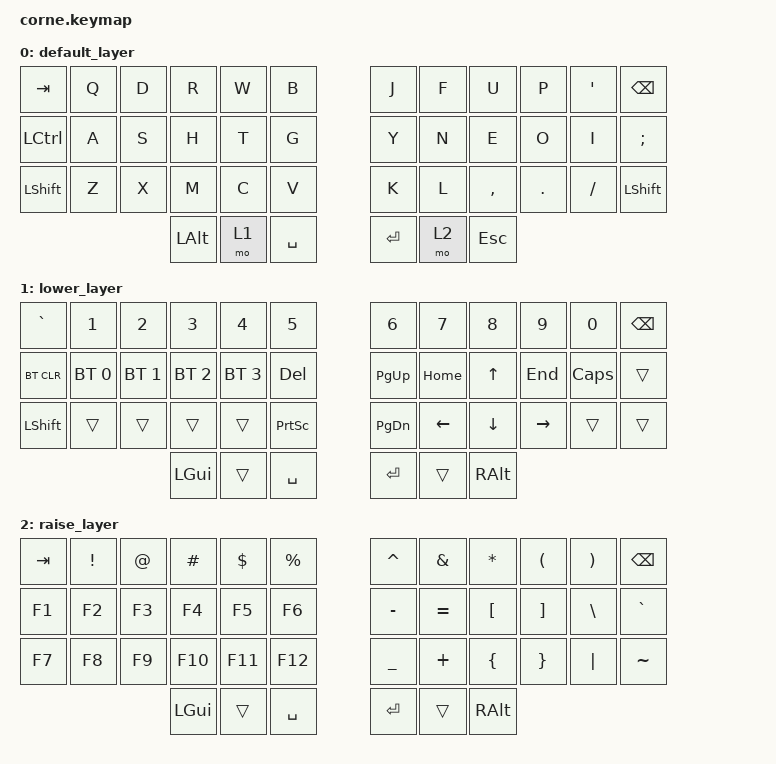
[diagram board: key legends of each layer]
/*
 * Copyright (c) 2020 The ZMK Contributors
 *
 * SPDX-License-Identifier: MIT
 */

#include <behaviors.dtsi>
#include <dt-bindings/zmk/keys.h>
#include <dt-bindings/zmk/bt.h>

/ {
        keymap {
                compatible = "zmk,keymap";

                default_layer {
// -----------------------------------------------------------------------------------------
// |  TAB |  Q  |  W  |  E  |  R  |  T  |   |  Y  |  U   |  I  |  O  |  P  | BSPC |
// | CTRL |  A  |  S  |  D  |  F  |  G  |   |  H  |  J   |  K  |  L  |  ;  |  '   |
// | SHFT |  Z  |  X  |  C  |  V  |  B  |   |  N  |  M   |  ,  |  .  |  /  | ESC  |
//                    | GUI | LWR | SPC |   | ENT | RSE  | ALT |
                        bindings = <
   &kp TAB   &kp Q &kp D &kp R &kp W &kp B   &kp J &kp F  &kp U     &kp P   &kp SQT  &kp BSPC
   &kp LCTRL &kp A &kp S &kp H &kp T &kp G   &kp Y &kp N  &kp E     &kp O   &kp I    &kp SEMI
   &kp LSHFT &kp Z &kp X &kp M &kp C &kp V   &kp K &kp L  &kp COMMA &kp DOT &kp FSLH &kp LSHFT
                  &kp LALT &mo 1 &kp SPACE   &kp RET &mo 2 &kp ESC
                        >;
                };
                lower_layer {
// -----------------------------------------------------------------------------------------
// |  TAB |  1  |  2  |  3  |  4  |  5  |   |  6  |  7  |  8  |  9  |  0  | BSPC |
// | BTCLR| BT1 | BT2 | BT3 | BT4 | BT5 |   | LFT | DWN |  UP | RGT |     |      |
// | SHFT |     |     |     |     |     |   |     |     |     |     |  '   |      |
//                    | GUI |     | SPC |   | ENT |     | ALT |
                        bindings = <
   &kp GRAVE  &kp N1       &kp N2       &kp N3       &kp N4       &kp N5         &kp N6    &kp N7    &kp N8   &kp N9    &kp N0 &kp BSPC
   &bt BT_CLR &bt BT_SEL 0 &bt BT_SEL 1 &bt BT_SEL 2 &bt BT_SEL 3 &kp DEL        &kp PG_UP &kp HOME  &kp UP   &kp END   &kp CLCK  &trans
   &kp LSHFT  &trans       &trans       &trans       &trans       &kp PSCRN      &kp PG_DN &kp LEFT  &kp DOWN &kp RIGHT &trans &trans
                                    &kp LGUI     &trans       &kp SPACE      &kp RET  &trans   &kp RALT
                        >;
                };

                raise_layer {
// -----------------------------------------------------------------------------------------
// |  TAB |  !  |  @  |  #  |  $  |  %  |   |  ^  |  &  |  *  |  (  |  )  | BSPC |
// | CTRL |     |     |     |     |     |   |  -  |  =  |  [  |  ]  |  \  |  `   |
// | SHFT |     |     |     |     |     |   |  _  |  +  |  {  |  }  | "|" |  ~   |
//                    | GUI |     | SPC |   | ENT |     | ALT |
                        bindings = <
   &kp TAB  &kp EXCL &kp AT &kp HASH &kp DLLR &kp PRCNT   &kp CARET &kp AMPS  &kp ASTRK &kp LPAR &kp RPAR &kp BSPC
   &kp F1   &kp F2   &kp F3 &kp F4   &kp F5   &kp F6      &kp MINUS &kp EQUAL &kp LBKT  &kp RBKT &kp BSLH &kp GRAVE
   &kp F7   &kp F8   &kp F9 &kp F10  &kp F11  &kp F12      &kp UNDER &kp PLUS  &kp LBRC  &kp RBRC &kp PIPE &kp TILDE
                             &kp LGUI &trans   &kp SPACE   &kp RET   &trans    &kp RALT
                        >;
                };
        };
};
